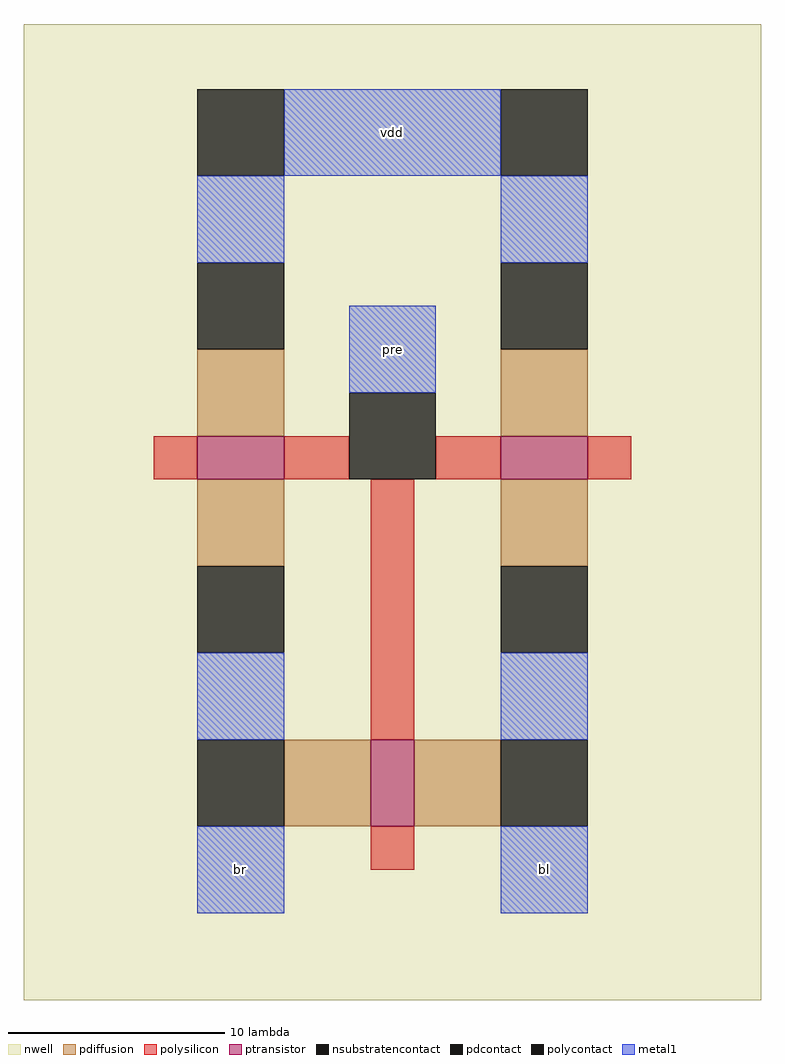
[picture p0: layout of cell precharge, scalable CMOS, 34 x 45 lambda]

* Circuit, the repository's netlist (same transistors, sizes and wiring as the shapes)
* SPICE3 file created from precharge.ext - technology: scmos

.option scale=0.1u

M1000 vdd pre br vdd pfet w=4 l=2
+  ad=64 pd=48 as=64 ps=48
M1001 bl pre br vdd pfet w=4 l=2
+  ad=64 pd=48 as=0 ps=0
M1002 vdd pre bl vdd pfet w=4 l=2
+  ad=0 pd=0 as=0 ps=0

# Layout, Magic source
magic
tech scmos
<< nwell >>
rect -4 17 30 62
<< ptransistor >>
rect 4 41 8 43
rect 18 41 22 43
rect 12 25 14 29
<< pdiffusion >>
rect 4 43 8 47
rect 18 43 22 47
rect 4 37 8 41
rect 18 37 22 41
rect 8 25 12 29
rect 14 25 18 29
<< pdcontact >>
rect 4 47 8 51
rect 18 47 22 51
rect 4 33 8 37
rect 18 33 22 37
rect 4 25 8 29
rect 18 25 22 29
<< nsubstratencontact >>
rect 4 55 8 59
rect 18 55 22 59
<< polysilicon >>
rect 2 41 4 43
rect 8 41 11 43
rect 15 41 18 43
rect 22 41 24 43
rect 12 29 14 41
rect 12 23 14 25
<< polycontact >>
rect 11 41 15 45
<< metal1 >>
rect 8 55 18 59
rect 4 51 8 55
rect 18 51 22 55
rect 11 45 15 49
rect 4 29 8 33
rect 4 21 8 25
rect 18 29 22 33
rect 18 21 22 25
<< labels >>
rlabel metal1 20 23 20 23 1 bl
rlabel metal1 13 57 13 57 1 vdd
rlabel metal1 13 47 13 47 1 pre
rlabel metal1 6 23 6 23 5 br
<< end >>
